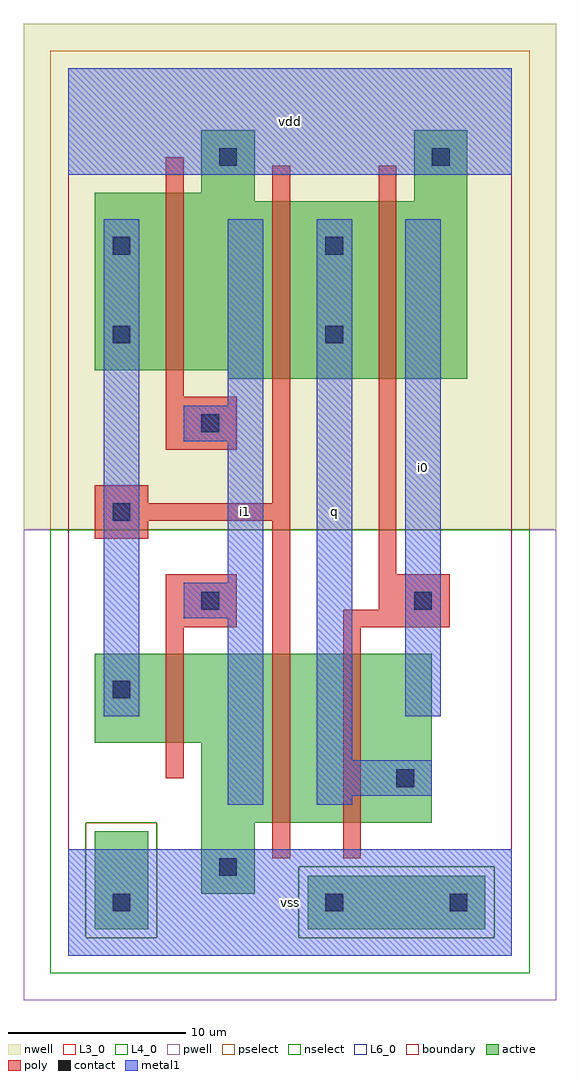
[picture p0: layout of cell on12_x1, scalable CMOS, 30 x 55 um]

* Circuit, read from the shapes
.subckt on12_x1 i0 i1 q vdd vss
M1 vss i1 n1 vss nfet w=5u l=1u
M2 n2 n1 vss vss nfet w=9.5u l=1u
M3 q i0 n2 vss nfet w=9.5u l=1u
M4 vdd i1 n1 n3 pfet w=10u l=1u
M5 q n1 vdd n3 pfet w=10u l=1u
M6 vdd i0 q n3 pfet w=10u l=1u
.ends

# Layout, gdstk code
import gdstk
lib = gdstk.Library(unit=1e-6, precision=1e-09)
def R(c, l, rs):  # rectangles x0, y0, x1, y1
    for r in rs: c.add(gdstk.rectangle(r[:2], r[2:], *l))
def A(c, l, x, y, w, h, nx, ny, dx, dy):  # array of equal rectangles
    R(c, l, [(x+i*dx, y+j*dy, x+i*dx+w, y+j*dy+h) for i in range(nx) for j in range(ny)])
L3_0 = (3, 0)
L4_0 = (4, 0)
L6_0 = (6, 0)
contact = (25, 0)
pwell = (41, 0)
nwell = (42, 0)
active = (43, 0)
pselect = (44, 0)
nselect = (45, 0)
poly = (46, 0)
metal1 = (49, 0)
boundary = (63, 0)

on12_x1 = lib.new_cell('on12_x1')
R(on12_x1, L3_0, [(7.5,3.5,10.5,7.5), (7.5,7.5,20.5,12), (1.5,12,20.5,17)])
R(on12_x1, L4_0, [(9,32.5,22.5,33), (1.5,33,22.5,42.5), (1.5,42.5,10.5,43), (19.5,42.5,22.5,46.5), (7.5,43,10.5,46.5)])
R(on12_x1, L6_0, [(1.5,1.5,4.5,7), (13.5,1.5,23.5,4.5)])
A(on12_x1, contact, 2.5, 14.5, 1, 1, 1, 3, 0, 10)
R(on12_x1, contact, [(2.5,2.5,3.5,3.5), (14.5,2.5,15.5,3.5), (21.5,2.5,22.5,3.5), (8.5,4.5,9.5,5.5), (18.5,9.5,19.5,10.5), (7.5,19.5,8.5,20.5), (19.5,19.5,20.5,20.5), (7.5,29.5,8.5,30.5), (14.5,34.5,15.5,35.5), (2.5,39.5,3.5,40.5), (14.5,39.5,15.5,40.5), (8.5,44.5,9.5,45.5), (20.5,44.5,21.5,45.5)])
R(on12_x1, pwell, [(-2.5,-2.5,27.5,24)])
R(on12_x1, nwell, [(-2.5,24,27.5,52.5)])
R(on12_x1, active, [(1.5,1.5,4.5,7), (13.5,1.5,23.5,4.5), (7.5,3.5,10.5,7.5), (7.5,7.5,20.5,12), (1.5,12,20.5,17), (9,32.5,22.5,33), (1.5,33,22.5,42.5), (1.5,42.5,10.5,43), (19.5,42.5,22.5,46.5), (7.5,43,10.5,46.5)])
R(on12_x1, pselect, [(1,1,5,7.5), (13,1,24,5), (-1,24,26,51)])
R(on12_x1, nselect, [(-1,-1,26,1), (-1,1,1,7.5), (5,1,13,5), (24,1,26,5), (5,5,26,7.5), (-1,7.5,26,24)])
R(on12_x1, poly, [(11.5,5.5,12.5,24.5), (15.5,5.5,16.5,18.5), (5.5,10,6.5,18.5), (5.5,18.5,9.5,21.5), (15.5,18.5,21.5,19.5), (17.5,19.5,21.5,21.5), (17.5,21.5,18.5,44.5), (1.5,23.5,4.5,24.5), (1.5,24.5,12.5,25.5), (1.5,25.5,4.5,26.5), (11.5,25.5,12.5,44.5), (5.5,28.5,9.5,31.5), (5.5,31.5,6.5,45)])
R(on12_x1, metal1, [(0,0,25,6), (0,0,25,6), (9,8.5,11,19), (9,8.5,11,19), (14,8.5,16,9), (14,8.5,16,9), (14,9,20.5,11), (14,9,20.5,11), (14,11,16,41.5), (14,11,16,41.5), (2,13.5,4,41.5), (2,13.5,4,41.5), (19,13.5,21,41.5), (19,13.5,21,41.5), (6.5,19,11,21), (6.5,19,11,21), (9,21,11,29), (9,21,11,29), (6.5,29,11,31), (6.5,29,11,31), (9,31,11,41.5), (9,31,11,41.5), (0,44,25,50), (0,44,25,50)])
R(on12_x1, boundary, [(0,0,25,50)])
on12_x1.add(gdstk.Label('vss', (12.5,3), layer=49, texttype=0))
on12_x1.add(gdstk.Label('q', (15,25), layer=49, texttype=0))
on12_x1.add(gdstk.Label('i1', (10,25), layer=49, texttype=0))
on12_x1.add(gdstk.Label('vdd', (12.5,47), layer=49, texttype=0))
on12_x1.add(gdstk.Label('i0', (20,27.5), layer=49, texttype=0))

lib.write_gds('on12_x1.gds')
